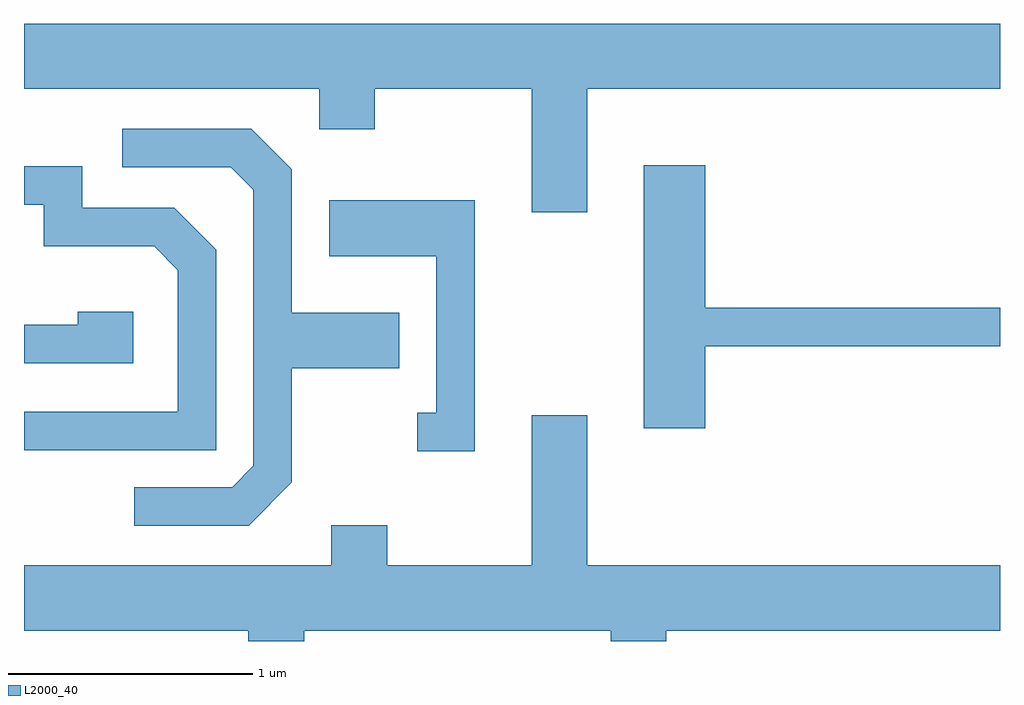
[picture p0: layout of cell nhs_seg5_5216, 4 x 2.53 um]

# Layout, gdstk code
import gdstk
lib = gdstk.Library(unit=1e-6, precision=1e-09)
def P(c, l, *ps):  # polygons
    for p in ps: c.add(gdstk.Polygon(p, *l))
L2000_40 = (2000, 40)

nhs_seg5_5216 = lib.new_cell('nhs_seg5_5216')
P(nhs_seg5_5216, L2000_40, [(341.919,1472.336),(343.611,1472.336),(343.611,1472.604),(339.611,1472.604),(339.611,1472.336),(340.821,1472.336),(340.821,1472.171),(341.049,1472.171),(341.049,1472.336),(341.691,1472.336),(341.691,1471.831),(341.919,1471.831)],
  [(340.709,1470.724),(340.709,1471.191),(341.149,1471.191),(341.149,1471.419),(340.709,1471.419),(340.709,1472.007),(340.542,1472.174),(340.013,1472.174),(340.013,1472.016),(340.459,1472.016),(340.551,1471.924),(340.551,1470.792),(340.464,1470.704),(340.063,1470.704),(340.063,1470.546),(340.532,1470.546)],
  [(342.404,1471.281),(343.611,1471.281),(343.611,1471.439),(342.404,1471.439),(342.404,1472.024),(342.151,1472.024),(342.151,1470.946),(342.404,1470.946)],
  [(340.399,1471.677),(340.227,1471.849),(339.849,1471.849),(339.849,1472.019),(339.611,1472.019),(339.611,1471.861),(339.691,1471.861),(339.691,1471.691),(340.144,1471.691),(340.241,1471.594),(340.241,1471.014),(339.611,1471.014),(339.611,1470.856),(340.399,1470.856)],
  [(341.459,1471.879),(340.861,1471.879),(340.861,1471.651),(341.301,1471.651),(341.301,1471.009),(341.223,1471.009),(341.223,1470.851),(341.459,1470.851)],
  [(340.059,1471.424),(339.831,1471.424),(339.831,1471.369),(339.611,1471.369),(339.611,1471.211),(340.059,1471.211)],
  [(340.759,1470.116),(342.016,1470.116),(342.016,1470.072),(342.244,1470.072),(342.244,1470.116),(343.611,1470.116),(343.611,1470.384),(341.919,1470.384),(341.919,1470.999),(341.691,1470.999),(341.691,1470.384),(341.099,1470.384),(341.099,1470.549),(340.871,1470.549),(340.871,1470.384),(339.611,1470.384),(339.611,1470.116),(340.531,1470.116),(340.531,1470.072),(340.759,1470.072)])

lib.write_gds('nhs_seg5_5216.gds')
